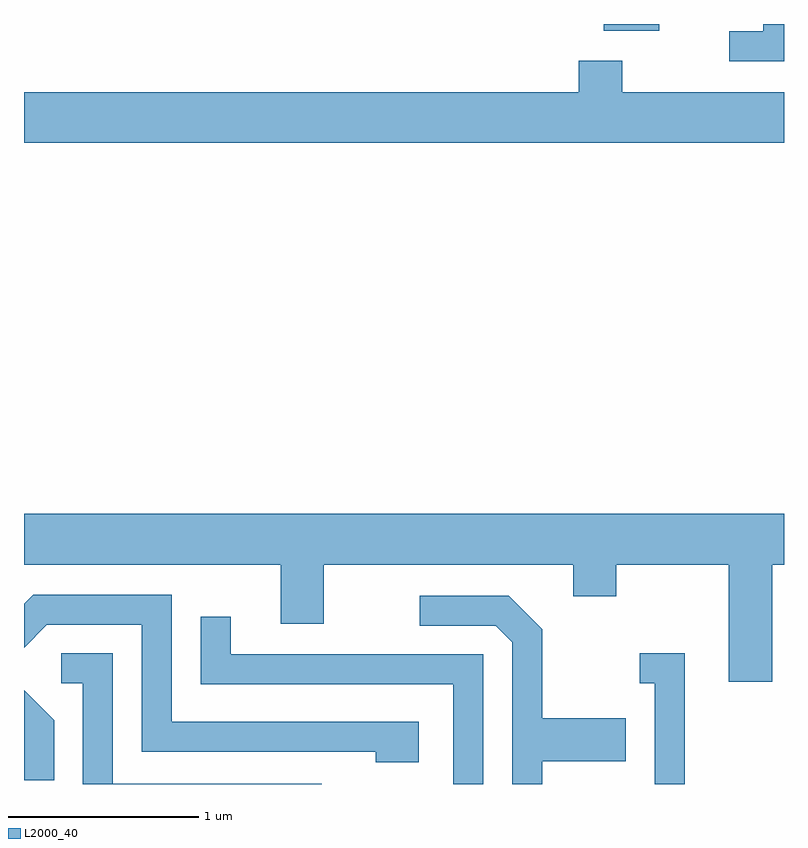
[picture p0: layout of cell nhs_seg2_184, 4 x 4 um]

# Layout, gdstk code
import gdstk
lib = gdstk.Library(unit=1e-6, precision=1e-09)
def R(c, l, rs):  # rectangles x0, y0, x1, y1
    for r in rs: c.add(gdstk.rectangle(r[:2], r[2:], *l))
def P(c, l, *ps):  # polygons
    for p in ps: c.add(gdstk.Polygon(p, *l))
L2000_40 = (2000, 40)

nhs_seg2_184 = lib.new_cell('nhs_seg2_184')
R(nhs_seg2_184, L2000_40, [(192.661,1077.766,192.954,1077.802)])
P(nhs_seg2_184, L2000_40, [(193.611,1077.802),(193.501,1077.802),(193.501,1077.764),(193.323,1077.764),(193.323,1077.606),(193.611,1077.606)],
  [(193.611,1077.444),(192.759,1077.444),(192.759,1077.609),(192.531,1077.609),(192.531,1077.444),(189.611,1077.444),(189.611,1077.176),(193.611,1077.176)],
  [(193.549,1074.956),(193.611,1074.956),(193.611,1075.224),(189.611,1075.224),(189.611,1074.956),(190.961,1074.956),(190.961,1074.646),(191.189,1074.646),(191.189,1074.956),(192.501,1074.956),(192.501,1074.791),(192.729,1074.791),(192.729,1074.956),(193.321,1074.956),(193.321,1074.341),(193.549,1074.341)],
  [(191.689,1074.129),(190.389,1074.129),(190.389,1074.799),(189.659,1074.799),(189.611,1074.751),(189.611,1074.52),(189.732,1074.641),(190.231,1074.641),(190.231,1073.971),(191.461,1073.971),(191.461,1073.916),(191.689,1073.916)],
  [(192.339,1073.921),(192.779,1073.921),(192.779,1074.149),(192.339,1074.149),(192.339,1074.617),(192.162,1074.794),(191.693,1074.794),(191.693,1074.636),(192.094,1074.636),(192.181,1074.549),(192.181,1073.802),(192.339,1073.802)],
  [(192.029,1074.484),(190.699,1074.484),(190.699,1074.683),(190.541,1074.683),(190.541,1074.326),(191.871,1074.326),(191.871,1073.802),(192.029,1073.802)],
  [(191.178,1073.804),(190.079,1073.804),(190.079,1074.489),(189.808,1074.489),(189.808,1074.331),(189.921,1074.331),(189.921,1073.802),(191.178,1073.802)],
  [(193.089,1074.489),(192.853,1074.489),(192.853,1074.331),(192.931,1074.331),(192.931,1073.802),(193.089,1073.802)],
  [(189.769,1074.137),(189.611,1074.295),(189.611,1073.823),(189.769,1073.823)])

lib.write_gds('nhs_seg2_184.gds')
